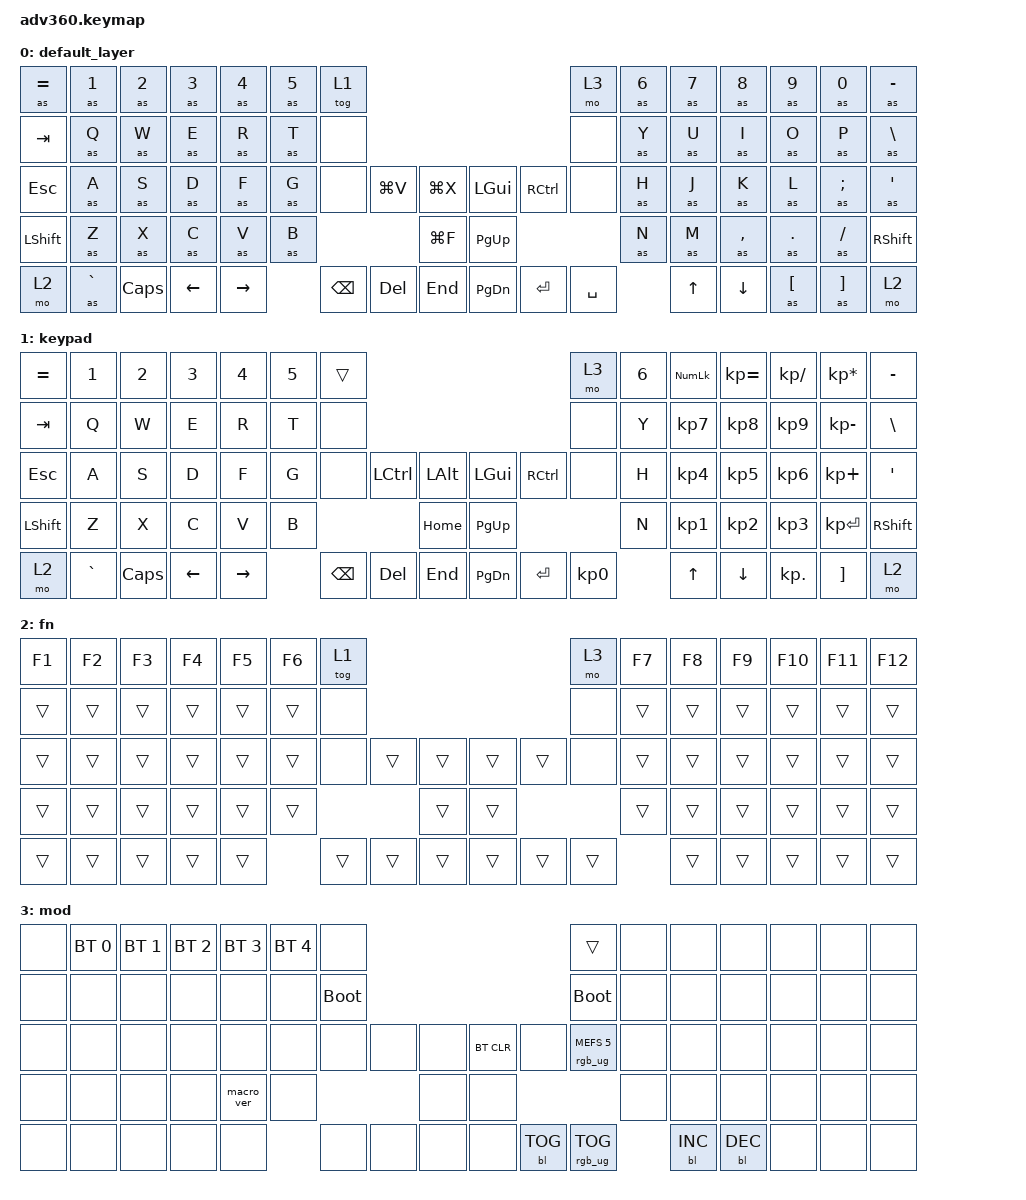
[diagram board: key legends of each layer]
#include <behaviors.dtsi>
#include <dt-bindings/zmk/backlight.h>
#include <dt-bindings/zmk/bt.h>
#include <dt-bindings/zmk/keys.h>
#include <dt-bindings/zmk/rgb.h>

/ {
    behaviors {
        #include "macros.dtsi"
      #include "version.dtsi"
      #ifndef VERSION_MACRO

        macro_ver: macro_ver {
            compatible = "zmk,behavior-macro";
            label = "macro_version";
            #binding-cells = <0>;
            bindings = <&kp RET>;
        };

        #endif

        hm: homerow_mods {
            compatible = "zmk,behavior-hold-tap";
            label = "HOMEROW_MODS";
            #binding-cells = <2>;
            tapping-term-ms = <200>;
            quick_tap_ms = <175>;
            flavor = "tap-preferred";
            bindings = <&kp>, <&kp>;
        };

        as_ht: autoshift_hold_tap {
            compatible = "zmk,behavior-hold-tap";
            label = "AUTOSHIFT_HOLD_TAP";
            #binding-cells = <2>;
            tapping-term-ms = <175>;
            bindings = <&shifted>, <&kp>;

            flavor = "tap-preferred";
        };
    };

    macros {
        shifted: macro_shifted_kp {
            #binding-cells = <1>;
            label = "MACRO_SHIFTED_KP";
            compatible = "zmk,behavior-macro-one-param";
            bindings =
                <&macro_press>,
                <&kp LSHFT &macro_param_1to1>,
                <&macro_tap>,
                <&kp MACRO_PLACEHOLDER>,
                <&macro_release>,
                <&kp LSHFT>;
        };

        as: autoshift {
            compatible = "zmk,behavior-macro-one-param";
            #binding-cells = <1>;
            label = "AUTOSHIFT_KP";
            bindings =
                <&macro_press>,
                <&macro_param_1to1 &macro_param_1to2 &as_ht MACRO_PLACEHOLDER MACRO_PLACEHOLDER>,
                <&macro_pause_for_release>,
                <&macro_release>,
                <&macro_param_1to1 &macro_param_1to2 &as_ht MACRO_PLACEHOLDER MACRO_PLACEHOLDER>;
        };
    };

    keymap {
        compatible = "zmk,keymap";

        default_layer {
            bindings = <
&as EQUAL   &as N1     &as N2    &as N3    &as N4     &as N5  &tog 1                                                    &mo 3      &as N6  &as N7  &as N8     &as N9    &as N0    &as MINUS
&kp TAB     &as Q      &as W     &as E     &as R      &as T   &none                                                     &none      &as Y   &as U   &as I      &as O     &as P     &as BSLH
&kp ESCAPE  &as A      &as S     &as D     &as F      &as G   &none     &kp LG(V)  &kp LG(X)      &kp LGUI   &kp RCTRL  &none      &as H   &as J   &as K      &as L     &as SEMI  &as SQT
&kp LSHFT   &as Z      &as X     &as C     &as V      &as B                        &kp LG(F)      &kp PG_UP                        &as N   &as M   &as COMMA  &as DOT   &as FSLH  &kp RSHFT
&mo 2       &as GRAVE  &kp CAPS  &kp LEFT  &kp RIGHT          &kp BSPC  &kp DEL    &kp END        &kp PG_DN  &kp ENTER  &kp SPACE          &kp UP  &kp DOWN   &as LBKT  &as RBKT  &mo 2
            >;
        };

        keypad {
            bindings = <
&kp EQUAL  &kp N1     &kp N2    &kp N3    &kp N4     &kp N5  &trans                                                   &mo 3      &kp N6  &kp KP_NUM  &kp KP_EQUAL  &kp KP_DIVIDE  &kp KP_MULTIPLY  &kp MINUS
&kp TAB    &kp Q      &kp W     &kp E     &kp R      &kp T   &none                                                    &none      &kp Y   &kp KP_N7   &kp KP_N8     &kp KP_N9      &kp KP_MINUS     &kp BSLH
&kp ESC    &kp A      &kp S     &kp D     &kp F      &kp G   &none     &kp LCTRL  &kp LALT      &kp LGUI   &kp RCTRL  &none      &kp H   &kp KP_N4   &kp KP_N5     &kp KP_N6      &kp KP_PLUS      &kp SQT
&kp LSHFT  &kp Z      &kp X     &kp C     &kp V      &kp B                        &kp HOME      &kp PG_UP                        &kp N   &kp KP_N1   &kp KP_N2     &kp KP_N3      &kp KP_ENTER     &kp RSHFT
&mo 2      &kp GRAVE  &kp CAPS  &kp LEFT  &kp RIGHT          &kp BSPC  &kp DEL    &kp END       &kp PG_DN  &kp ENTER  &kp KP_N0          &kp UP      &kp DOWN      &kp KP_DOT     &kp RBKT         &mo 2
            >;
        };

        fn {
            bindings = <
&kp F1  &kp F2  &kp F3  &kp F4  &kp F5  &kp F6  &tog 1                                      &mo 3   &kp F7  &kp F8  &kp F9  &kp F10  &kp F11  &kp F12
&trans  &trans  &trans  &trans  &trans  &trans  &none                                       &none   &trans  &trans  &trans  &trans   &trans   &trans
&trans  &trans  &trans  &trans  &trans  &trans  &none   &trans  &trans      &trans  &trans  &none   &trans  &trans  &trans  &trans   &trans   &trans
&trans  &trans  &trans  &trans  &trans  &trans                  &trans      &trans                  &trans  &trans  &trans  &trans   &trans   &trans
&trans  &trans  &trans  &trans  &trans          &trans  &trans  &trans      &trans  &trans  &trans          &trans  &trans  &trans   &trans   &trans
            >;
        };

        mod {
            bindings = <
&none  &bt BT_SEL 0  &bt BT_SEL 1  &bt BT_SEL 2  &bt BT_SEL 3  &bt BT_SEL 4  &none                                                  &trans                  &none  &none       &none       &none  &none  &none
&none  &none         &none         &none         &none         &none         &bootloader                                            &bootloader             &none  &none       &none       &none  &none  &none
&none  &none         &none         &none         &none         &none         &none        &none  &none      &bt BT_CLR  &none       &rgb_ug RGB_MEFS_CMD 5  &none  &none       &none       &none  &none  &none
&none  &none         &none         &none         &macro_ver    &none                             &none      &none                                           &none  &none       &none       &none  &none  &none
&none  &none         &none         &none         &none                       &none        &none  &none      &none       &bl BL_TOG  &rgb_ug RGB_TOG                &bl BL_INC  &bl BL_DEC  &none  &none  &none
            >;
        };
    };
};
